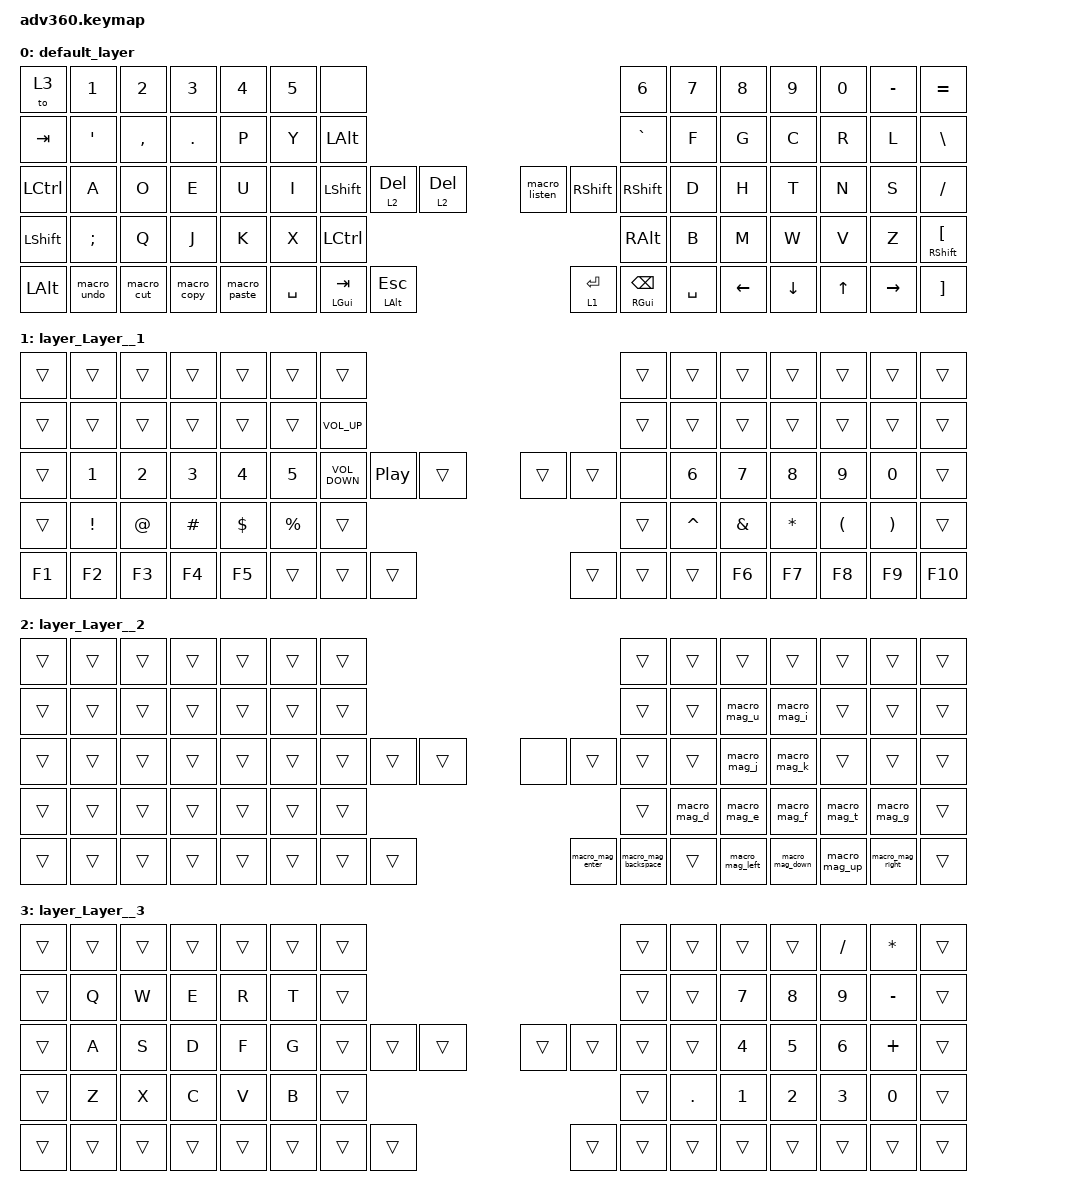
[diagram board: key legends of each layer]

/*
 * Copyright (c) 2020 The ZMK Contributors
 *
 * SPDX-License-Identifier: MIT
 */


/* THIS FILE WAS GENERATED!
 *
 * This file was generated automatically. You may or may not want to
 * edit it directly.
 */

#include <behaviors.dtsi>
#include <dt-bindings/zmk/keys.h>

/ {
  behaviors {
    #include "macros.dtsi"
    #include "version.dtsi"

    hm: homerow_mods {
        compatible = "zmk,behavior-hold-tap";
        label = "HOMEROW_MODS";
        #binding-cells = <2>;
        tapping-term-ms = <200>;
        quick_tap_ms = <175>;
        flavor = "tap-preferred";
        bindings = <&kp>, <&kp>;
    };
  };

    keymap {
        compatible = "zmk,keymap";


        default_layer {
            bindings = <
          &to 3            &kp N1      &kp N2       &kp N3        &kp N4  &kp N5                     &none                                                                                                       &kp N6  &kp N7    &kp N8    &kp N9  &kp N0  &kp MINUS                     &kp EQUAL
        &kp TAB  &kp SINGLE_QUOTE   &kp COMMA   &kp PERIOD         &kp P   &kp Y              &kp LEFT_ALT                                                                                                    &kp GRAVE   &kp F     &kp G     &kp C   &kp R      &kp L                      &kp BSLH
      &kp LCTRL             &kp A       &kp O        &kp E         &kp U   &kp I            &kp LEFT_SHIFT         &lt 2 DEL      &lt 2 DELETE                  &macro_listen          &kp RIGHT_SHIFT  &kp RIGHT_SHIFT   &kp D     &kp H     &kp T   &kp N      &kp S                     &kp SLASH
 &kp LEFT_SHIFT     &kp SEMICOLON       &kp Q        &kp J         &kp K   &kp X                                                     &kp LCTRL                  &kp RIGHT_ALT                                             &kp B     &kp M     &kp W   &kp V      &kp Z  &mt RIGHT_SHIFT LEFT_BRACKET
   &kp LEFT_ALT       &macro_undo  &macro_cut  &macro_copy  &macro_paste                         &kp SPACE  &mt LEFT_GUI TAB  &mt LEFT_ALT ESC                    &lt 1 ENTER  &mt RIGHT_GUI BACKSPACE        &kp SPACE          &kp LEFT  &kp DOWN  &kp UP  &kp RIGHT             &kp RIGHT_BRACKET
            >;
        };

        layer_Layer__1 {
            bindings = <
 &trans           &trans        &trans        &trans        &trans        &trans                       &trans                                                            &trans        &trans         &trans        &trans                &trans                 &trans   &trans
 &trans           &trans        &trans        &trans        &trans        &trans              &kp C_VOLUME_UP                                                            &trans        &trans         &trans        &trans                &trans                 &trans   &trans
 &trans     &kp NUMBER_1  &kp NUMBER_2  &kp NUMBER_3  &kp NUMBER_4  &kp NUMBER_5            &kp C_VOLUME_DOWN  &kp C_PLAY_PAUSE  &trans                  &trans  &trans   &none  &kp NUMBER_6   &kp NUMBER_7  &kp NUMBER_8          &kp NUMBER_9           &kp NUMBER_0   &trans
 &trans  &kp EXCLAMATION        &kp AT      &kp HASH    &kp DOLLAR   &kp PERCENT                                                 &trans                  &trans                     &kp CARET  &kp AMPERSAND  &kp ASTERISK  &kp LEFT_PARENTHESIS  &kp RIGHT_PARENTHESIS   &trans
 &kp F1           &kp F2        &kp F3        &kp F4        &kp F5                                     &trans            &trans  &trans                  &trans  &trans  &trans                       &kp F6        &kp F7                &kp F8                 &kp F9  &kp F10
            >;
        };

        layer_Layer__2 {
            bindings = <
 &trans  &trans  &trans  &trans  &trans  &trans            &trans                                                                          &trans        &trans           &trans           &trans         &trans            &trans  &trans
 &trans  &trans  &trans  &trans  &trans  &trans            &trans                                                                          &trans        &trans     &macro_mag_u     &macro_mag_i         &trans            &trans  &trans
 &trans  &trans  &trans  &trans  &trans  &trans            &trans  &trans  &trans                             &none                &trans  &trans        &trans     &macro_mag_j     &macro_mag_k         &trans            &trans  &trans
 &trans  &trans  &trans  &trans  &trans  &trans                            &trans                            &trans                                &macro_mag_d     &macro_mag_e     &macro_mag_f   &macro_mag_t      &macro_mag_g  &trans
 &trans  &trans  &trans  &trans  &trans                    &trans  &trans  &trans                  &macro_mag_enter  &macro_mag_backspace  &trans                &macro_mag_left  &macro_mag_down  &macro_mag_up  &macro_mag_right  &trans
            >;
        };

        layer_Layer__3 {
            bindings = <
 &trans  &trans  &trans  &trans  &trans  &trans            &trans                                                  &trans   &trans        &trans        &trans     &kp SLASH  &kp ASTERISK  &trans
 &trans   &kp Q   &kp W   &kp E   &kp R   &kp T            &trans                                                  &trans   &trans  &kp NUMBER_7  &kp NUMBER_8  &kp NUMBER_9     &kp MINUS  &trans
 &trans   &kp A   &kp S   &kp D   &kp F   &kp G            &trans  &trans  &trans                  &trans  &trans  &trans   &trans  &kp NUMBER_4  &kp NUMBER_5  &kp NUMBER_6      &kp PLUS  &trans
 &trans   &kp Z   &kp X   &kp C   &kp V   &kp B                            &trans                  &trans                  &kp DOT  &kp NUMBER_1  &kp NUMBER_2  &kp NUMBER_3  &kp NUMBER_0  &trans
 &trans  &trans  &trans  &trans  &trans                    &trans  &trans  &trans                  &trans  &trans  &trans                 &trans        &trans        &trans        &trans  &trans
            >;
        };

    };
};
